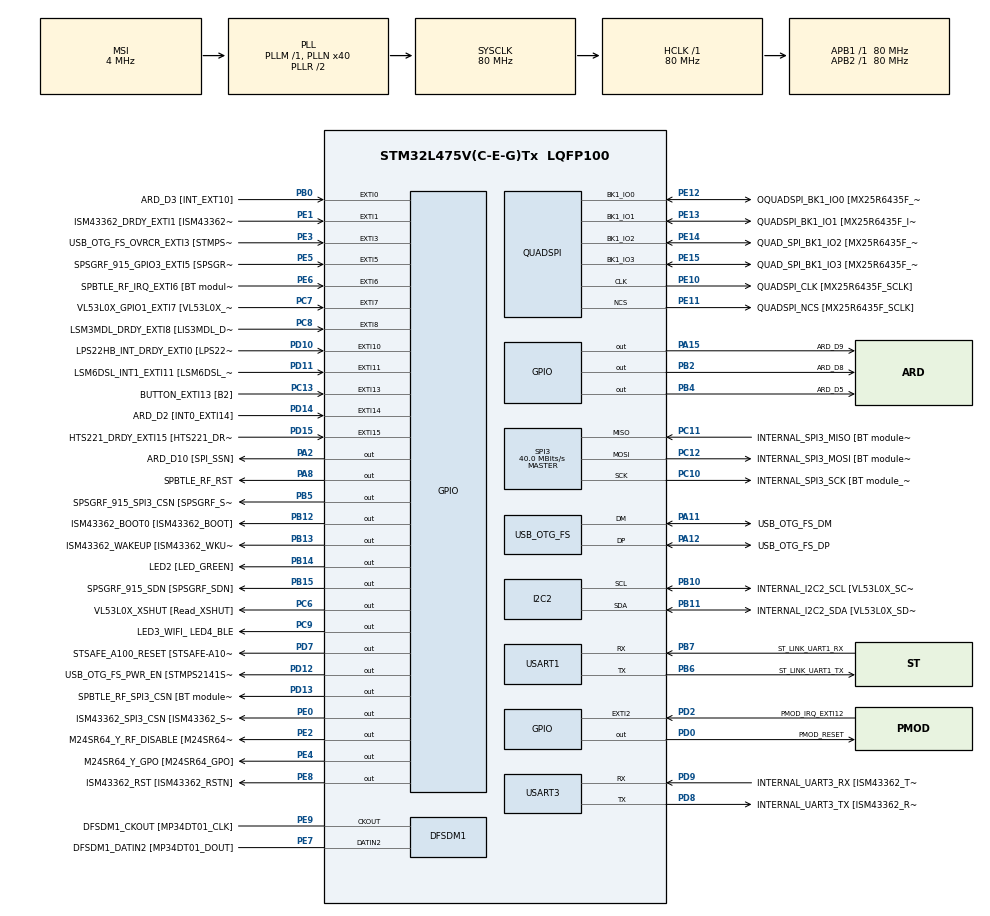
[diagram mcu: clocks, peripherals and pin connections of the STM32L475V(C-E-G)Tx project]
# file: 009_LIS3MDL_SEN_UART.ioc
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Mcu.Family=STM32L4
Mcu.Name=STM32L475V(C-E-G)Tx
Mcu.Package=LQFP100
NVIC.EXTI15_10_IRQn=true\:0\:0\:false\:false\:true\:true\:true\:true
NVIC.EXTI9_5_IRQn=true\:0\:0\:false\:false\:true\:true\:true\:true
NVIC.PriorityGroup=NVIC_PRIORITYGROUP_4
PA0.GPIO_Label=ARD_D1 [UART4_TX]
PA0.Signal=UART4_TX
PA1.GPIO_Label=ARD_D0 [UART4_RX]
PA1.Signal=UART4_RX
PA10.GPIO_Label=USB_OTG_FS_ID
PA10.Signal=USB_OTG_FS_ID
PA11.GPIO_Label=USB_OTG_FS_DM
PA11.Mode=Device_Only
PA11.Signal=USB_OTG_FS_DM
PA12.GPIO_Label=USB_OTG_FS_DP
PA12.Mode=Device_Only
PA12.Signal=USB_OTG_FS_DP
PA13\ (JTMS-SWDIO).GPIO_Label=SYS_JTMS_SWDIO
PA13\ (JTMS-SWDIO).Mode=Serial_Wire
PA13\ (JTMS-SWDIO).Signal=SYS_JTMS-SWDIO
PA14\ (JTCK-SWCLK).GPIO_Label=SYS_JTCK_SWCLK
PA14\ (JTCK-SWCLK).Mode=Serial_Wire
PA14\ (JTCK-SWCLK).Signal=SYS_JTCK-SWCLK
PA15\ (JTDI).GPIO_Label=ARD_D9
PA15\ (JTDI).Signal=GPIO_Output
PA2.GPIO_Label=ARD_D10 [SPI_SSN]
PA2.Signal=GPIO_Output
PA3.GPIO_Label=ARD_D4
PA3.Signal=S_TIM2_CH4
PA4.GPIO_Label=ARD_D7
PA4.Signal=ADCx_IN9
PA5.GPIO_Label=ARD_D13 [SPI1_SCK]
PA5.Signal=SPI1_SCK
PA6.GPIO_Label=ARD_D12 [SPI1_MISO]
PA6.Signal=SPI1_MISO
PA7.GPIO_Label=ARD_D11 [SPI1_MOSI]
PA7.Signal=SPI1_MOSI
PA8.GPIO_Label=SPBTLE_RF_RST
PA8.Signal=GPIO_Output
PA9.GPIO_Label=USB_OTG_FS_VBUS [STMPS2141STR_OUT]
PA9.Signal=USB_OTG_FS_VBUS
PB0.GPIO_Label=ARD_D3 [INT_EXT10]
PB0.Signal=GPXTI0
PB1.GPIO_Label=ARD_D6 [ADC1_IN6]
PB1.Signal=ADCx_IN16
PB10.GPIO_Label=INTERNAL_I2C2_SCL [VL53L0X_SCL]
PB10.GPIO_Pu=GPIO_PULLUP
PB10.Mode=I2C
PB10.Signal=I2C2_SCL
PB11.GPIO_Label=INTERNAL_I2C2_SDA [VL53L0X_SDA]
PB11.GPIO_Pu=GPIO_PULLUP
PB11.Mode=I2C
PB11.Signal=I2C2_SDA
PB12.GPIO_Label=ISM43362_BOOT0 [ISM43362_BOOT]
PB12.Signal=GPIO_Output
PB13.GPIO_Label=ISM43362_WAKEUP [ISM43362_WKUP]
PB13.Signal=GPIO_Output
PB14.GPIO_Label=LED2 [LED_GREEN]
PB14.Signal=GPIO_Output
PB15.GPIO_Label=SPSGRF_915_SDN [SPSGRF_SDN]
PB15.Signal=GPIO_Output
PB2.GPIO_Label=ARD_D8
PB2.Signal=GPIO_Output
PB3\ (JTDO-TRACESWO).GPIO_Label=SYS_JTD0_SWO
PB3\ (JTDO-TRACESWO).Signal=SYS_JTDO-SWO
PB4\ (NJTRST).GPIO_Label=ARD_D5
PB4\ (NJTRST).Signal=GPIO_Output
PB5.GPIO_Label=SPSGRF_915_SPI3_CSN [SPSGRF_SPI_CS]
PB5.PinState=GPIO_PIN_SET
PB5.Signal=GPIO_Output
PB6.GPIO_Label=ST_LINK_UART1_TX
PB6.Mode=Asynchronous
PB6.Signal=USART1_TX
PB7.GPIO_Label=ST_LINK_UART1_RX
PB7.Mode=Asynchronous
PB7.Signal=USART1_RX
PB8.GPIO_Label=ARD_D15 [I2C1_SCL]
PB8.Signal=I2C1_SCL
PB9.GPIO_Label=ARD_D14 [I2C1_SDA]
PB9.Signal=I2C1_SDA
PC0.GPIO_Label=ARD_A5 [ADC]
PC0.Signal=ADCx_IN1
PC1.GPIO_Label=ARD_A4 [ADC]
PC1.Signal=ADCx_IN2
PC10.GPIO_Label=INTERNAL_SPI3_SCK [BT module_SPI_SCLK] [ISM43362_SCK]
PC10.Mode=Full_Duplex_Master
PC10.Signal=SPI3_SCK
PC11.GPIO_Label=INTERNAL_SPI3_MISO [BT module_SPI_MISO] [ISM43362_MISO]
PC11.Mode=Full_Duplex_Master
PC11.Signal=SPI3_MISO
PC12.GPIO_Label=INTERNAL_SPI3_MOSI [BT module_SPI_MOSI] [ISM43362_MOSI]
PC12.Mode=Full_Duplex_Master
PC12.Signal=SPI3_MOSI
PC13.GPIO_Label=BUTTON_EXTI13 [B2]
PC13.GPIO_ModeDefaultEXTI=GPIO_MODE_IT_FALLING
PC13.Signal=GPXTI13
PC14-OSC32_IN\ (PC14).Mode=LSE-External-Oscillator
PC14-OSC32_IN\ (PC14).Signal=RCC_OSC32_IN
PC15-OSC32_OUT\ (PC15).Mode=LSE-External-Oscillator
PC15-OSC32_OUT\ (PC15).Signal=RCC_OSC32_OUT
PC2.GPIO_Label=ARD_A3 [ADC]
PC2.Signal=ADCx_IN3
PC3.GPIO_Label=ARD_A2 [ADC]
PC3.Signal=ADCx_IN4
PC4.GPIO_Label=ARD_A1 [ADC]
PC4.Signal=ADCx_IN13
PC5.GPIO_Label=ARD_A0 [ADC]
PC5.Signal=ADCx_IN14
PC6.GPIO_Label=VL53L0X_XSHUT [Read_XSHUT]
PC6.Signal=GPIO_Output
PC7.GPIO_Label=VL53L0X_GPIO1_EXTI7 [VL53L0X_GPIO1]
PC7.Signal=GPXTI7
PC8.GPIO_Label=LSM3MDL_DRDY_EXTI8 [LIS3MDL_DRDY]
PC8.Signal=GPXTI8
PC9.GPIO_Label=LED3_WIFI_ LED4_BLE
PC9.Signal=GPIO_Output
PD0.GPIO_Label=PMOD_RESET
PD0.Signal=GPIO_Output
PD1.GPIO_Label=PMOD_SPI2_SCK
PD1.Signal=SPI2_SCK
PD10.GPIO_Label=LPS22HB_INT_DRDY_EXTI0 [LPS22HB_INT_DRDY] 
PD10.Signal=GPXTI10
PD11.GPIO_Label=LSM6DSL_INT1_EXTI11 [LSM6DSL_INT1]
PD11.Signal=GPXTI11
PD12.GPIO_Label=USB_OTG_FS_PWR_EN [STMPS2141STR_EN]
PD12.Signal=GPIO_Output
PD13.GPIO_Label=SPBTLE_RF_SPI3_CSN [BT module_SPI_CS]
PD13.PinState=GPIO_PIN_SET
PD13.Signal=GPIO_Output
PD14.GPIO_Label=ARD_D2 [INT0_EXTI14]
PD14.Signal=GPXTI14
PD15.GPIO_Label=HTS221_DRDY_EXTI15 [HTS221_DRDY]
PD15.Signal=GPXTI15
PD2.GPIO_Label=PMOD_IRQ_EXTI12
PD2.Signal=GPXTI2
PD3.GPIO_Label=PMOD_UART2_CTS
PD3.Signal=USART2_CTS
PD4.GPIO_Label=PMOD_UART2_RTS
PD4.Signal=USART2_RTS
PD5.GPIO_Label=PMOD_UART2_TX
PD5.Signal=USART2_TX
PD6.GPIO_Label=PMOD_UART2_RX
PD6.Signal=USART2_RX
PD7.GPIO_Label=STSAFE_A100_RESET [STSAFE-A100_RESET]
PD7.Signal=GPIO_Output
PD8.GPIO_Label=INTERNAL_UART3_TX [ISM43362_RX]
PD8.Mode=Asynchronous
PD8.Signal=USART3_TX
PD9.GPIO_Label=INTERNAL_UART3_RX [ISM43362_TX]
PD9.Mode=Asynchronous
PD9.Signal=USART3_RX
PE0.GPIO_Label=ISM43362_SPI3_CSN [ISM43362_SSN]
PE0.PinState=GPIO_PIN_SET
PE0.Signal=GPIO_Output
PE1.GPIO_Label=ISM43362_DRDY_EXTI1 [ISM43362_DATARDY]
PE1.Signal=GPXTI1
PE10.GPIO_Label=QUADSPI_CLK [MX25R6435F_SCLK]
PE10.Mode=Single Bank
PE10.Signal=QUADSPI_CLK
PE11.GPIO_Label=QUADSPI_NCS [MX25R6435F_SCLK]
PE11.Mode=Single Bank
PE11.Signal=QUADSPI_NCS
PE12.GPIO_Label=OQUADSPI_BK1_IO0 [MX25R6435F_IO0]
PE12.Mode=Single Bank
PE12.Signal=QUADSPI_BK1_IO0
PE13.GPIO_Label=QUADSPI_BK1_IO1 [MX25R6435F_IO1]
PE13.Mode=Single Bank
PE13.Signal=QUADSPI_BK1_IO1
PE14.GPIO_Label=QUAD_SPI_BK1_IO2 [MX25R6435F_IO2]
PE14.Mode=Single Bank
PE14.Signal=QUADSPI_BK1_IO2
PE15.GPIO_Label=QUAD_SPI_BK1_IO3 [MX25R6435F_IO3]
PE15.Mode=Single Bank
PE15.Signal=QUADSPI_BK1_IO3
PE2.GPIO_Label=M24SR64_Y_RF_DISABLE [M24SR64_RFDIS]
PE2.Signal=GPIO_Output
PE3.GPIO_Label=USB_OTG_FS_OVRCR_EXTI3 [STMPS2141STR_FAULT]
PE3.Signal=GPXTI3
PE4.GPIO_Label=M24SR64_Y_GPO [M24SR64_GPO]
PE4.Signal=GPIO_Output
PE5.GPIO_Label=SPSGRF_915_GPIO3_EXTI5 [SPSGRF_GPIO_3]
PE5.Signal=GPXTI5
PE6.GPIO_Label=SPBTLE_RF_IRQ_EXTI6 [BT module_SPI_IRQ]
PE6.Signal=GPXTI6
PE7.GPIO_Label=DFSDM1_DATIN2 [MP34DT01_DOUT]
PE7.Signal=S_DATAIN2DFSDM1
PE8.GPIO_Label=ISM43362_RST [ISM43362_RSTN]
PE8.Signal=GPIO_Output
PE9.GPIO_Label=DFSDM1_CKOUT [MP34DT01_CLK]
PE9.Signal=S_CKOUTDFSDM1
ProjectManager.HeapSize=0x200
ProjectManager.StackSize=0x400
ProjectManager.TargetToolchain=STM32CubeIDE
QUADSPI.ClockPrescaler=2
QUADSPI.FifoThreshold=4
QUADSPI.FlashSize=23
QUADSPI.SampleShifting=QSPI_SAMPLE_SHIFTING_HALFCYCLE
RCC.ADCFreq_Value=48000000
RCC.AHBFreq_Value=80000000
RCC.APB1Freq_Value=80000000
RCC.APB1TimFreq_Value=80000000
RCC.APB2Freq_Value=80000000
RCC.APB2TimFreq_Value=80000000
RCC.CortexFreq_Value=80000000
RCC.HCLKFreq_Value=80000000
RCC.HSE_VALUE=8000000
RCC.HSI_VALUE=16000000
RCC.MSI_VALUE=4000000
RCC.PLLN=40
RCC.PLLSAI1N=24
RCC.SYSCLKFreq_VALUE=80000000
RCC.SYSCLKSource=RCC_SYSCLKSOURCE_PLLCLK
RCC.USBFreq_Value=48000000
RCC.VCOOutputFreq_Value=160000000
SH.ADCx_IN1.0=ADC1_IN1
SH.ADCx_IN13.0=ADC1_IN13
SH.ADCx_IN14.0=ADC1_IN14
SH.ADCx_IN16.0=ADC1_IN16
SH.ADCx_IN2.0=ADC1_IN2
SH.ADCx_IN3.0=ADC1_IN3
SH.ADCx_IN4.0=ADC1_IN4
SH.ADCx_IN9.0=ADC1_IN9
SH.S_CKOUTDFSDM1.0=DFSDM1_CKOUT,CKOUT
SH.S_CKOUTDFSDM1.1=DFSDM1_CKOUT,PDM_SPI_Input_from_ch12_and_Internal_Clock
SH.S_DATAIN2DFSDM1.0=DFSDM1_DATIN2,PDM_SPI_Input_from_ch12_and_Internal_Clock
SH.S_TIM2_CH4.0=TIM2_CH4
SPI3.CalculateBaudRate=40.0 MBits/s
SPI3.Direction=SPI_DIRECTION_2LINES
SPI3.Mode=SPI_MODE_MASTER
SPI3.VirtualType=VM_MASTER
USART1.VirtualMode-Asynchronous=VM_ASYNC
USART3.VirtualMode-Asynchronous=VM_ASYNC
USB_OTG_FS.VirtualMode=Device_Only
board=B-L475E-IOT01A2

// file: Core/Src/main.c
/* USER CODE BEGIN Header */
/**
  ******************************************************************************
  * @file           : main.c
  * @brief          : Main program body
  ******************************************************************************
  * @attention
  *
  * Copyright (c) 2024 STMicroelectronics.
  * All rights reserved.
  *
  * This software is licensed under terms that can be found in the LICENSE file
  * in the root directory of this software component.
  * If no LICENSE file comes with this software, it is provided AS-IS.
  *
  ******************************************************************************
  */
/* USER CODE END Header */
#include "main.h"

/* USER CODE BEGIN Includes */
#include <stdio.h>
#include <math.h>
#include "stm32l475e_iot01.h"
// Magnetometer sensor
#include "lis3mdl.h"
/* USER CODE END Includes */

DFSDM_Channel_HandleTypeDef hdfsdm1_channel1;

I2C_HandleTypeDef hi2c2;

QSPI_HandleTypeDef hqspi;

SPI_HandleTypeDef hspi3;

UART_HandleTypeDef huart1;
UART_HandleTypeDef huart3;

PCD_HandleTypeDef hpcd_USB_OTG_FS;

/* USER CODE BEGIN PV */
uint8_t train[] = "                                          &&&&&&&&&\n\r                                        &&&\n\r                                       &&\n\r                                      &  _____ ___________\n\r                                     II__|[] | |   I I   |\n\r       @Balaji303                   |        |_|_  I I  _|\n\r                                   < OO----OOO   OO---OO\n\r**********************************************************\n\r";
uint8_t msg0[] = "$$$$$$ A Project by @Balaji303 $$$$$$\n\n\r";
uint8_t msg1[] = "****** Magnetometer values measurement ******\n\n\r";
uint8_t msg2[] = "=====> Initializing sensor LIS3MDL ...\r\n";
uint8_t msg3[] = "=====> Sensor LIS3MDL initialized \r\n ";
char str_tmp[100] = ""; // Formatted message to display the temperature value
/* USER CODE END PV */

void SystemClock_Config(void);
static void MX_GPIO_Init(void);
static void MX_DFSDM1_Init(void);
static void MX_I2C2_Init(void);
static void MX_QUADSPI_Init(void);
static void MX_SPI3_Init(void);
static void MX_USART1_UART_Init(void);
static void MX_USART3_UART_Init(void);
static void MX_USB_OTG_FS_PCD_Init(void);

int main(void)
{

  /* MCU Configuration--------------------------------------------------------*/

  /* Reset of all peripherals, Initializes the Flash interface and the Systick. */
  HAL_Init();

  /* Configure the system clock */
  SystemClock_Config();

  /* Initialize all configured peripherals */
  MX_GPIO_Init();
  MX_DFSDM1_Init();
  MX_I2C2_Init();
  MX_QUADSPI_Init();
  MX_SPI3_Init();
  MX_USART1_UART_Init();
  MX_USART3_UART_Init();
  MX_USB_OTG_FS_PCD_Init();
  /* USER CODE BEGIN 2 */
  HAL_UART_Transmit(&huart1,train,sizeof(train),1000);
  HAL_Delay(100);
  HAL_UART_Transmit(&huart1,msg0,sizeof(msg0),1000);
  HAL_UART_Transmit(&huart1,msg1,sizeof(msg1),1000);
  HAL_Delay(100);
  HAL_UART_Transmit(&huart1,msg2,sizeof(msg2),1000);
  MAGNETO_InitTypeDef LIS3MDL_InitStruct;
  int16_t magnetometerData[3];
  //Check page 20 of docs/sensor/lis3mdl.pdf
  // Control Register1 -> 0b01110000 -> 0x70
  // OM = 11 (ultra-high-performance mode for X and Y); DO = 100 (10 Hz ODR)
  LIS3MDL_InitStruct.Register1 = 0x70;
  // Control Register2 -> 0b00000000 -> 0x00
  // FS = 00 (+/- 4 gauss full scale)
  LIS3MDL_InitStruct.Register2 = 0x0;
  // Control Register3 -> 0b00000000 -> 0x00
  // MD = 00 (continuous-conversion mode)
  LIS3MDL_InitStruct.Register3 = 0x0;
  // Control Register4 -> 0b00001100 -> 0x0C
  // OMZ = 11 (ultra-high-performance mode for Z)
  LIS3MDL_InitStruct.Register4 = 0x0C;
  // Control Register5 -> 0b01000000 -> 0x40
  // BDU = 1 (block data update)
  LIS3MDL_InitStruct.Register5 = 0x40;
  // Sensor Configuration
  //1. Initialize the sensor
  LIS3MDL_MagInit(LIS3MDL_InitStruct);
  HAL_UART_Transmit(&huart1,msg3,sizeof(msg3),1000);
  HAL_Delay(1000);
  uint8_t sensorID = LIS3MDL_MagReadID();
  snprintf(str_tmp,100,"ID = %x\n\r", sensorID);
  HAL_UART_Transmit(&huart1,( uint8_t *)str_tmp,sizeof(str_tmp),1000);
  /* USER CODE END 2 */

  /* Infinite loop */
  while (1)
  {

    /* USER CODE BEGIN 3 */
	  LIS3MDL_MagReadXYZ(&magnetometerData[0]);
	  snprintf(str_tmp,100,"X=%d Y=%d Z=%d\n\r", magnetometerData[0], magnetometerData[1], magnetometerData[2]);
	  HAL_UART_Transmit(&huart1,( uint8_t *)str_tmp,sizeof(str_tmp),1000);
	  HAL_Delay(500);
  }
  /* USER CODE END 3 */
}

void SystemClock_Config(void)
{
  RCC_OscInitTypeDef RCC_OscInitStruct = {0};
  RCC_ClkInitTypeDef RCC_ClkInitStruct = {0};

  /** Configure the main internal regulator output voltage
  */
  if (HAL_PWREx_ControlVoltageScaling(PWR_REGULATOR_VOLTAGE_SCALE1) != HAL_OK)
  {
    Error_Handler();
  }

  /** Configure LSE Drive Capability
  */
  HAL_PWR_EnableBkUpAccess();
  __HAL_RCC_LSEDRIVE_CONFIG(RCC_LSEDRIVE_LOW);

  /** Initializes the RCC Oscillators according to the specified parameters
  * in the RCC_OscInitTypeDef structure.
  */
  RCC_OscInitStruct.OscillatorType = RCC_OSCILLATORTYPE_LSE|RCC_OSCILLATORTYPE_MSI;
  RCC_OscInitStruct.LSEState = RCC_LSE_ON;
  RCC_OscInitStruct.MSIState = RCC_MSI_ON;
  RCC_OscInitStruct.MSICalibrationValue = 0;
  RCC_OscInitStruct.MSIClockRange = RCC_MSIRANGE_6;
  RCC_OscInitStruct.PLL.PLLState = RCC_PLL_ON;
  RCC_OscInitStruct.PLL.PLLSource = RCC_PLLSOURCE_MSI;
  RCC_OscInitStruct.PLL.PLLM = 1;
  RCC_OscInitStruct.PLL.PLLN = 40;
  RCC_OscInitStruct.PLL.PLLP = RCC_PLLP_DIV7;
  RCC_OscInitStruct.PLL.PLLQ = RCC_PLLQ_DIV2;
  RCC_OscInitStruct.PLL.PLLR = RCC_PLLR_DIV2;
  if (HAL_RCC_OscConfig(&RCC_OscInitStruct) != HAL_OK)
  {
    Error_Handler();
  }

  /** Initializes the CPU, AHB and APB buses clocks
  */
  RCC_ClkInitStruct.ClockType = RCC_CLOCKTYPE_HCLK|RCC_CLOCKTYPE_SYSCLK
                              |RCC_CLOCKTYPE_PCLK1|RCC_CLOCKTYPE_PCLK2;
  RCC_ClkInitStruct.SYSCLKSource = RCC_SYSCLKSOURCE_PLLCLK;
  RCC_ClkInitStruct.AHBCLKDivider = RCC_SYSCLK_DIV1;
  RCC_ClkInitStruct.APB1CLKDivider = RCC_HCLK_DIV1;
  RCC_ClkInitStruct.APB2CLKDivider = RCC_HCLK_DIV1;

  if (HAL_RCC_ClockConfig(&RCC_ClkInitStruct, FLASH_LATENCY_4) != HAL_OK)
  {
    Error_Handler();
  }

  /** Enable MSI Auto calibration
  */
  HAL_RCCEx_EnableMSIPLLMode();
}

static void MX_DFSDM1_Init(void)
{

  hdfsdm1_channel1.Instance = DFSDM1_Channel1;
  hdfsdm1_channel1.Init.OutputClock.Activation = ENABLE;
  hdfsdm1_channel1.Init.OutputClock.Selection = DFSDM_CHANNEL_OUTPUT_CLOCK_SYSTEM;
  hdfsdm1_channel1.Init.OutputClock.Divider = 2;
  hdfsdm1_channel1.Init.Input.Multiplexer = DFSDM_CHANNEL_EXTERNAL_INPUTS;
  hdfsdm1_channel1.Init.Input.DataPacking = DFSDM_CHANNEL_STANDARD_MODE;
  hdfsdm1_channel1.Init.Input.Pins = DFSDM_CHANNEL_FOLLOWING_CHANNEL_PINS;
  hdfsdm1_channel1.Init.SerialInterface.Type = DFSDM_CHANNEL_SPI_RISING;
  hdfsdm1_channel1.Init.SerialInterface.SpiClock = DFSDM_CHANNEL_SPI_CLOCK_INTERNAL;
  hdfsdm1_channel1.Init.Awd.FilterOrder = DFSDM_CHANNEL_FASTSINC_ORDER;
  hdfsdm1_channel1.Init.Awd.Oversampling = 1;
  hdfsdm1_channel1.Init.Offset = 0;
  hdfsdm1_channel1.Init.RightBitShift = 0x00;
  if (HAL_DFSDM_ChannelInit(&hdfsdm1_channel1) != HAL_OK)
  {
    Error_Handler();
  }

}

static void MX_I2C2_Init(void)
{

  hi2c2.Instance = I2C2;
  hi2c2.Init.Timing = 0x00000E14;
  hi2c2.Init.OwnAddress1 = 0;
  hi2c2.Init.AddressingMode = I2C_ADDRESSINGMODE_7BIT;
  hi2c2.Init.DualAddressMode = I2C_DUALADDRESS_DISABLE;
  hi2c2.Init.OwnAddress2 = 0;
  hi2c2.Init.OwnAddress2Masks = I2C_OA2_NOMASK;
  hi2c2.Init.GeneralCallMode = I2C_GENERALCALL_DISABLE;
  hi2c2.Init.NoStretchMode = I2C_NOSTRETCH_DISABLE;
  if (HAL_I2C_Init(&hi2c2) != HAL_OK)
  {
    Error_Handler();
  }

  /** Configure Analogue filter
  */
  if (HAL_I2CEx_ConfigAnalogFilter(&hi2c2, I2C_ANALOGFILTER_ENABLE) != HAL_OK)
  {
    Error_Handler();
  }

  /** Configure Digital filter
  */
  if (HAL_I2CEx_ConfigDigitalFilter(&hi2c2, 0) != HAL_OK)
  {
    Error_Handler();
  }

}

static void MX_QUADSPI_Init(void)
{

  /* QUADSPI parameter configuration*/
  hqspi.Instance = QUADSPI;
  hqspi.Init.ClockPrescaler = 2;
  hqspi.Init.FifoThreshold = 4;
  hqspi.Init.SampleShifting = QSPI_SAMPLE_SHIFTING_HALFCYCLE;
  hqspi.Init.FlashSize = 23;
  hqspi.Init.ChipSelectHighTime = QSPI_CS_HIGH_TIME_1_CYCLE;
  hqspi.Init.ClockMode = QSPI_CLOCK_MODE_0;
  if (HAL_QSPI_Init(&hqspi) != HAL_OK)
  {
    Error_Handler();
  }

}

static void MX_SPI3_Init(void)
{

  /* SPI3 parameter configuration*/
  hspi3.Instance = SPI3;
  hspi3.Init.Mode = SPI_MODE_MASTER;
  hspi3.Init.Direction = SPI_DIRECTION_2LINES;
  hspi3.Init.DataSize = SPI_DATASIZE_4BIT;
  hspi3.Init.CLKPolarity = SPI_POLARITY_LOW;
  hspi3.Init.CLKPhase = SPI_PHASE_1EDGE;
  hspi3.Init.NSS = SPI_NSS_SOFT;
  hspi3.Init.BaudRatePrescaler = SPI_BAUDRATEPRESCALER_2;
  hspi3.Init.FirstBit = SPI_FIRSTBIT_MSB;
  hspi3.Init.TIMode = SPI_TIMODE_DISABLE;
  hspi3.Init.CRCCalculation = SPI_CRCCALCULATION_DISABLE;
  hspi3.Init.CRCPolynomial = 7;
  hspi3.Init.CRCLength = SPI_CRC_LENGTH_DATASIZE;
  hspi3.Init.NSSPMode = SPI_NSS_PULSE_ENABLE;
  if (HAL_SPI_Init(&hspi3) != HAL_OK)
  {
    Error_Handler();
  }

}

static void MX_USART1_UART_Init(void)
{

  huart1.Instance = USART1;
  huart1.Init.BaudRate = 115200;
  huart1.Init.WordLength = UART_WORDLENGTH_8B;
  huart1.Init.StopBits = UART_STOPBITS_1;
  huart1.Init.Parity = UART_PARITY_NONE;
  huart1.Init.Mode = UART_MODE_TX_RX;
  huart1.Init.HwFlowCtl = UART_HWCONTROL_NONE;
  huart1.Init.OverSampling = UART_OVERSAMPLING_16;
  huart1.Init.OneBitSampling = UART_ONE_BIT_SAMPLE_DISABLE;
  huart1.AdvancedInit.AdvFeatureInit = UART_ADVFEATURE_NO_INIT;
  if (HAL_UART_Init(&huart1) != HAL_OK)
  {
    Error_Handler();
  }

}

static void MX_USART3_UART_Init(void)
{

  huart3.Instance = USART3;
  huart3.Init.BaudRate = 115200;
  huart3.Init.WordLength = UART_WORDLENGTH_8B;
  huart3.Init.StopBits = UART_STOPBITS_1;
  huart3.Init.Parity = UART_PARITY_NONE;
  huart3.Init.Mode = UART_MODE_TX_RX;
  huart3.Init.HwFlowCtl = UART_HWCONTROL_NONE;
  huart3.Init.OverSampling = UART_OVERSAMPLING_16;
  huart3.Init.OneBitSampling = UART_ONE_BIT_SAMPLE_DISABLE;
  huart3.AdvancedInit.AdvFeatureInit = UART_ADVFEATURE_NO_INIT;
  if (HAL_UART_Init(&huart3) != HAL_OK)
  {
    Error_Handler();
  }

}

static void MX_USB_OTG_FS_PCD_Init(void)
{

  hpcd_USB_OTG_FS.Instance = USB_OTG_FS;
  hpcd_USB_OTG_FS.Init.dev_endpoints = 6;
  hpcd_USB_OTG_FS.Init.speed = PCD_SPEED_FULL;
  hpcd_USB_OTG_FS.Init.phy_itface = PCD_PHY_EMBEDDED;
  hpcd_USB_OTG_FS.Init.Sof_enable = DISABLE;
  hpcd_USB_OTG_FS.Init.low_power_enable = DISABLE;
  hpcd_USB_OTG_FS.Init.lpm_enable = DISABLE;
  hpcd_USB_OTG_FS.Init.battery_charging_enable = DISABLE;
  hpcd_USB_OTG_FS.Init.use_dedicated_ep1 = DISABLE;
  hpcd_USB_OTG_FS.Init.vbus_sensing_enable = DISABLE;
  if (HAL_PCD_Init(&hpcd_USB_OTG_FS) != HAL_OK)
  {
    Error_Handler();
  }

}

static void MX_GPIO_Init(void)
{
  GPIO_InitTypeDef GPIO_InitStruct = {0};

  /* GPIO Ports Clock Enable */
  __HAL_RCC_GPIOE_CLK_ENABLE();
  __HAL_RCC_GPIOC_CLK_ENABLE();
  __HAL_RCC_GPIOA_CLK_ENABLE();
  __HAL_RCC_GPIOB_CLK_ENABLE();
  __HAL_RCC_GPIOD_CLK_ENABLE();

  /*Configure GPIO pin Output Level */
  HAL_GPIO_WritePin(GPIOE, M24SR64_Y_RF_DISABLE_Pin|M24SR64_Y_GPO_Pin|ISM43362_RST_Pin, GPIO_PIN_RESET);

  /*Configure GPIO pin Output Level */
  HAL_GPIO_WritePin(GPIOA, ARD_D10_Pin|SPBTLE_RF_RST_Pin|ARD_D9_Pin, GPIO_PIN_RESET);

  /*Configure GPIO pin Output Level */
  HAL_GPIO_WritePin(GPIOB, ARD_D8_Pin|ISM43362_BOOT0_Pin|ISM43362_WAKEUP_Pin|LED2_Pin
                          |SPSGRF_915_SDN_Pin|ARD_D5_Pin, GPIO_PIN_RESET);

  /*Configure GPIO pin Output Level */
  HAL_GPIO_WritePin(GPIOD, USB_OTG_FS_PWR_EN_Pin|PMOD_RESET_Pin|STSAFE_A100_RESET_Pin, GPIO_PIN_RESET);

  /*Configure GPIO pin Output Level */
  HAL_GPIO_WritePin(SPBTLE_RF_SPI3_CSN_GPIO_Port, SPBTLE_RF_SPI3_CSN_Pin, GPIO_PIN_SET);

  /*Configure GPIO pin Output Level */
  HAL_GPIO_WritePin(GPIOC, VL53L0X_XSHUT_Pin|LED3_WIFI__LED4_BLE_Pin, GPIO_PIN_RESET);

  /*Configure GPIO pin Output Level */
  HAL_GPIO_WritePin(SPSGRF_915_SPI3_CSN_GPIO_Port, SPSGRF_915_SPI3_CSN_Pin, GPIO_PIN_SET);

  /*Configure GPIO pin Output Level */
  HAL_GPIO_WritePin(ISM43362_SPI3_CSN_GPIO_Port, ISM43362_SPI3_CSN_Pin, GPIO_PIN_SET);

  /*Configure GPIO pins : M24SR64_Y_RF_DISABLE_Pin M24SR64_Y_GPO_Pin ISM43362_RST_Pin ISM43362_SPI3_CSN_Pin */
  GPIO_InitStruct.Pin = M24SR64_Y_RF_DISABLE_Pin|M24SR64_Y_GPO_Pin|ISM43362_RST_Pin|ISM43362_SPI3_CSN_Pin;
  GPIO_InitStruct.Mode = GPIO_MODE_OUTPUT_PP;
  GPIO_InitStruct.Pull = GPIO_NOPULL;
  GPIO_InitStruct.Speed = GPIO_SPEED_FREQ_LOW;
  HAL_GPIO_Init(GPIOE, &GPIO_InitStruct);

  /*Configure GPIO pins : USB_OTG_FS_OVRCR_EXTI3_Pin SPSGRF_915_GPIO3_EXTI5_Pin SPBTLE_RF_IRQ_EXTI6_Pin ISM43362_DRDY_EXTI1_Pin */
  GPIO_InitStruct.Pin = USB_OTG_FS_OVRCR_EXTI3_Pin|SPSGRF_915_GPIO3_EXTI5_Pin|SPBTLE_RF_IRQ_EXTI6_Pin|ISM43362_DRDY_EXTI1_Pin;
  GPIO_InitStruct.Mode = GPIO_MODE_IT_RISING;
  GPIO_InitStruct.Pull = GPIO_NOPULL;
  HAL_GPIO_Init(GPIOE, &GPIO_InitStruct);

  /*Configure GPIO pin : BUTTON_EXTI13_Pin */
  GPIO_InitStruct.Pin = BUTTON_EXTI13_Pin;
  GPIO_InitStruct.Mode = GPIO_MODE_IT_FALLING;
  GPIO_InitStruct.Pull = GPIO_NOPULL;
  HAL_GPIO_Init(BUTTON_EXTI13_GPIO_Port, &GPIO_InitStruct);

  /*Configure GPIO pins : ARD_A5_Pin ARD_A4_Pin ARD_A3_Pin ARD_A2_Pin
                           ARD_A1_Pin ARD_A0_Pin */
  GPIO_InitStruct.Pin = ARD_A5_Pin|ARD_A4_Pin|ARD_A3_Pin|ARD_A2_Pin
                          |ARD_A1_Pin|ARD_A0_Pin;
  GPIO_InitStruct.Mode = GPIO_MODE_ANALOG_ADC_CONTROL;
  GPIO_InitStruct.Pull = GPIO_NOPULL;
  HAL_GPIO_Init(GPIOC, &GPIO_InitStruct);

  /*Configure GPIO pins : ARD_D1_Pin ARD_D0_Pin */
  GPIO_InitStruct.Pin = ARD_D1_Pin|ARD_D0_Pin;
  GPIO_InitStruct.Mode = GPIO_MODE_AF_PP;
  GPIO_InitStruct.Pull = GPIO_NOPULL;
  GPIO_InitStruct.Speed = GPIO_SPEED_FREQ_VERY_HIGH;
  GPIO_InitStruct.Alternate = GPIO_AF8_UART4;
  HAL_GPIO_Init(GPIOA, &GPIO_InitStruct);

  /*Configure GPIO pins : ARD_D10_Pin SPBTLE_RF_RST_Pin ARD_D9_Pin */
  GPIO_InitStruct.Pin = ARD_D10_Pin|SPBTLE_RF_RST_Pin|ARD_D9_Pin;
  GPIO_InitStruct.Mode = GPIO_MODE_OUTPUT_PP;
  GPIO_InitStruct.Pull = GPIO_NOPULL;
  GPIO_InitStruct.Speed = GPIO_SPEED_FREQ_LOW;
  HAL_GPIO_Init(GPIOA, &GPIO_InitStruct);

  /*Configure GPIO pin : ARD_D4_Pin */
  GPIO_InitStruct.Pin = ARD_D4_Pin;
  GPIO_InitStruct.Mode = GPIO_MODE_AF_PP;
  GPIO_InitStruct.Pull = GPIO_NOPULL;
  GPIO_InitStruct.Speed = GPIO_SPEED_FREQ_LOW;
  GPIO_InitStruct.Alternate = GPIO_AF1_TIM2;
  HAL_GPIO_Init(ARD_D4_GPIO_Port, &GPIO_InitStruct);

  /*Configure GPIO pin : ARD_D7_Pin */
  GPIO_InitStruct.Pin = ARD_D7_Pin;
  GPIO_InitStruct.Mode = GPIO_MODE_ANALOG_ADC_CONTROL;
  GPIO_InitStruct.Pull = GPIO_NOPULL;
  HAL_GPIO_Init(ARD_D7_GPIO_Port, &GPIO_InitStruct);

  /*Configure GPIO pins : ARD_D13_Pin ARD_D12_Pin ARD_D11_Pin */
  GPIO_InitStruct.Pin = ARD_D13_Pin|ARD_D12_Pin|ARD_D11_Pin;
  GPIO_InitStruct.Mode = GPIO_MODE_AF_PP;
  GPIO_InitStruct.Pull = GPIO_NOPULL;
  GPIO_InitStruct.Speed = GPIO_SPEED_FREQ_VERY_HIGH;
  GPIO_InitStruct.Alternate = GPIO_AF5_SPI1;
  HAL_GPIO_Init(GPIOA, &GPIO_InitStruct);

  /*Configure GPIO pin : ARD_D3_Pin */
  GPIO_InitStruct.Pin = ARD_D3_Pin;
  GPIO_InitStruct.Mode = GPIO_MODE_IT_RISING;
  GPIO_InitStruct.Pull = GPIO_NOPULL;
  HAL_GPIO_Init(ARD_D3_GPIO_Port, &GPIO_InitStruct);

  /*Configure GPIO pin : ARD_D6_Pin */
  GPIO_InitStruct.Pin = ARD_D6_Pin;
  GPIO_InitStruct.Mode = GPIO_MODE_ANALOG_ADC_CONTROL;
  GPIO_InitStruct.Pull = GPIO_NOPULL;
  HAL_GPIO_Init(ARD_D6_GPIO_Port, &GPIO_InitStruct);

  /*Configure GPIO pins : ARD_D8_Pin ISM43362_BOOT0_Pin ISM43362_WAKEUP_Pin LED2_Pin
                           SPSGRF_915_SDN_Pin ARD_D5_Pin SPSGRF_915_SPI3_CSN_Pin */
  GPIO_InitStruct.Pin = ARD_D8_Pin|ISM43362_BOOT0_Pin|ISM43362_WAKEUP_Pin|LED2_Pin
                          |SPSGRF_915_SDN_Pin|ARD_D5_Pin|SPSGRF_915_SPI3_CSN_Pin;
  GPIO_InitStruct.Mode = GPIO_MODE_OUTPUT_PP;
  GPIO_InitStruct.Pull = GPIO_NOPULL;
  GPIO_InitStruct.Speed = GPIO_SPEED_FREQ_LOW;
  HAL_GPIO_Init(GPIOB, &GPIO_InitStruct);

  /*Configure GPIO pins : LPS22HB_INT_DRDY_EXTI0_Pin LSM6DSL_INT1_EXTI11_Pin ARD_D2_Pin HTS221_DRDY_EXTI15_Pin
                           PMOD_IRQ_EXTI12_Pin */
  GPIO_InitStruct.Pin = LPS22HB_INT_DRDY_EXTI0_Pin|LSM6DSL_INT1_EXTI11_Pin|ARD_D2_Pin|HTS221_DRDY_EXTI15_Pin
                          |PMOD_IRQ_EXTI12_Pin;
  GPIO_InitStruct.Mode = GPIO_MODE_IT_RISING;
  GPIO_InitStruct.Pull = GPIO_NOPULL;
  HAL_GPIO_Init(GPIOD, &GPIO_InitStruct);

  /*Configure GPIO pins : USB_OTG_FS_PWR_EN_Pin SPBTLE_RF_SPI3_CSN_Pin PMOD_RESET_Pin STSAFE_A100_RESET_Pin */
  GPIO_InitStruct.Pin = USB_OTG_FS_PWR_EN_Pin|SPBTLE_RF_SPI3_CSN_Pin|PMOD_RESET_Pin|STSAFE_A100_RESET_Pin;
  GPIO_InitStruct.Mode = GPIO_MODE_OUTPUT_PP;
  GPIO_InitStruct.Pull = GPIO_NOPULL;
  GPIO_InitStruct.Speed = GPIO_SPEED_FREQ_LOW;
  HAL_GPIO_Init(GPIOD, &GPIO_InitStruct);

  /*Configure GPIO pins : VL53L0X_XSHUT_Pin LED3_WIFI__LED4_BLE_Pin */
  GPIO_InitStruct.Pin = VL53L0X_XSHUT_Pin|LED3_WIFI__LED4_BLE_Pin;
  GPIO_InitStruct.Mode = GPIO_MODE_OUTPUT_PP;
  GPIO_InitStruct.Pull = GPIO_NOPULL;
  GPIO_InitStruct.Speed = GPIO_SPEED_FREQ_LOW;
  HAL_GPIO_Init(GPIOC, &GPIO_InitStruct);

  /*Configure GPIO pins : VL53L0X_GPIO1_EXTI7_Pin LSM3MDL_DRDY_EXTI8_Pin */
  GPIO_InitStruct.Pin = VL53L0X_GPIO1_EXTI7_Pin|LSM3MDL_DRDY_EXTI8_Pin;
  GPIO_InitStruct.Mode = GPIO_MODE_IT_RISING;
  GPIO_InitStruct.Pull = GPIO_NOPULL;
  HAL_GPIO_Init(GPIOC, &GPIO_InitStruct);

  /*Configure GPIO pin : PMOD_SPI2_SCK_Pin */
  GPIO_InitStruct.Pin = PMOD_SPI2_SCK_Pin;
  GPIO_InitStruct.Mode = GPIO_MODE_AF_PP;
  GPIO_InitStruct.Pull = GPIO_NOPULL;
  GPIO_InitStruct.Speed = GPIO_SPEED_FREQ_VERY_HIGH;
  GPIO_InitStruct.Alternate = GPIO_AF5_SPI2;
  HAL_GPIO_Init(PMOD_SPI2_SCK_GPIO_Port, &GPIO_InitStruct);

  /*Configure GPIO pins : PMOD_UART2_CTS_Pin PMOD_UART2_RTS_Pin PMOD_UART2_TX_Pin PMOD_UART2_RX_Pin */
  GPIO_InitStruct.Pin = PMOD_UART2_CTS_Pin|PMOD_UART2_RTS_Pin|PMOD_UART2_TX_Pin|PMOD_UART2_RX_Pin;
  GPIO_InitStruct.Mode = GPIO_MODE_AF_PP;
  GPIO_InitStruct.Pull = GPIO_NOPULL;
  GPIO_InitStruct.Speed = GPIO_SPEED_FREQ_VERY_HIGH;
  GPIO_InitStruct.Alternate = GPIO_AF7_USART2;
  HAL_GPIO_Init(GPIOD, &GPIO_InitStruct);

  /*Configure GPIO pins : ARD_D15_Pin ARD_D14_Pin */
  GPIO_InitStruct.Pin = ARD_D15_Pin|ARD_D14_Pin;
  GPIO_InitStruct.Mode = GPIO_MODE_AF_OD;
  GPIO_InitStruct.Pull = GPIO_NOPULL;
  GPIO_InitStruct.Speed = GPIO_SPEED_FREQ_VERY_HIGH;
  GPIO_InitStruct.Alternate = GPIO_AF4_I2C1;
  HAL_GPIO_Init(GPIOB, &GPIO_InitStruct);

  /* EXTI interrupt init*/
  HAL_NVIC_SetPriority(EXTI9_5_IRQn, 0, 0);
  HAL_NVIC_EnableIRQ(EXTI9_5_IRQn);

  HAL_NVIC_SetPriority(EXTI15_10_IRQn, 0, 0);
  HAL_NVIC_EnableIRQ(EXTI15_10_IRQn);

}

void Error_Handler(void)
{
  __disable_irq();
  while (1)
  {
  }
}
